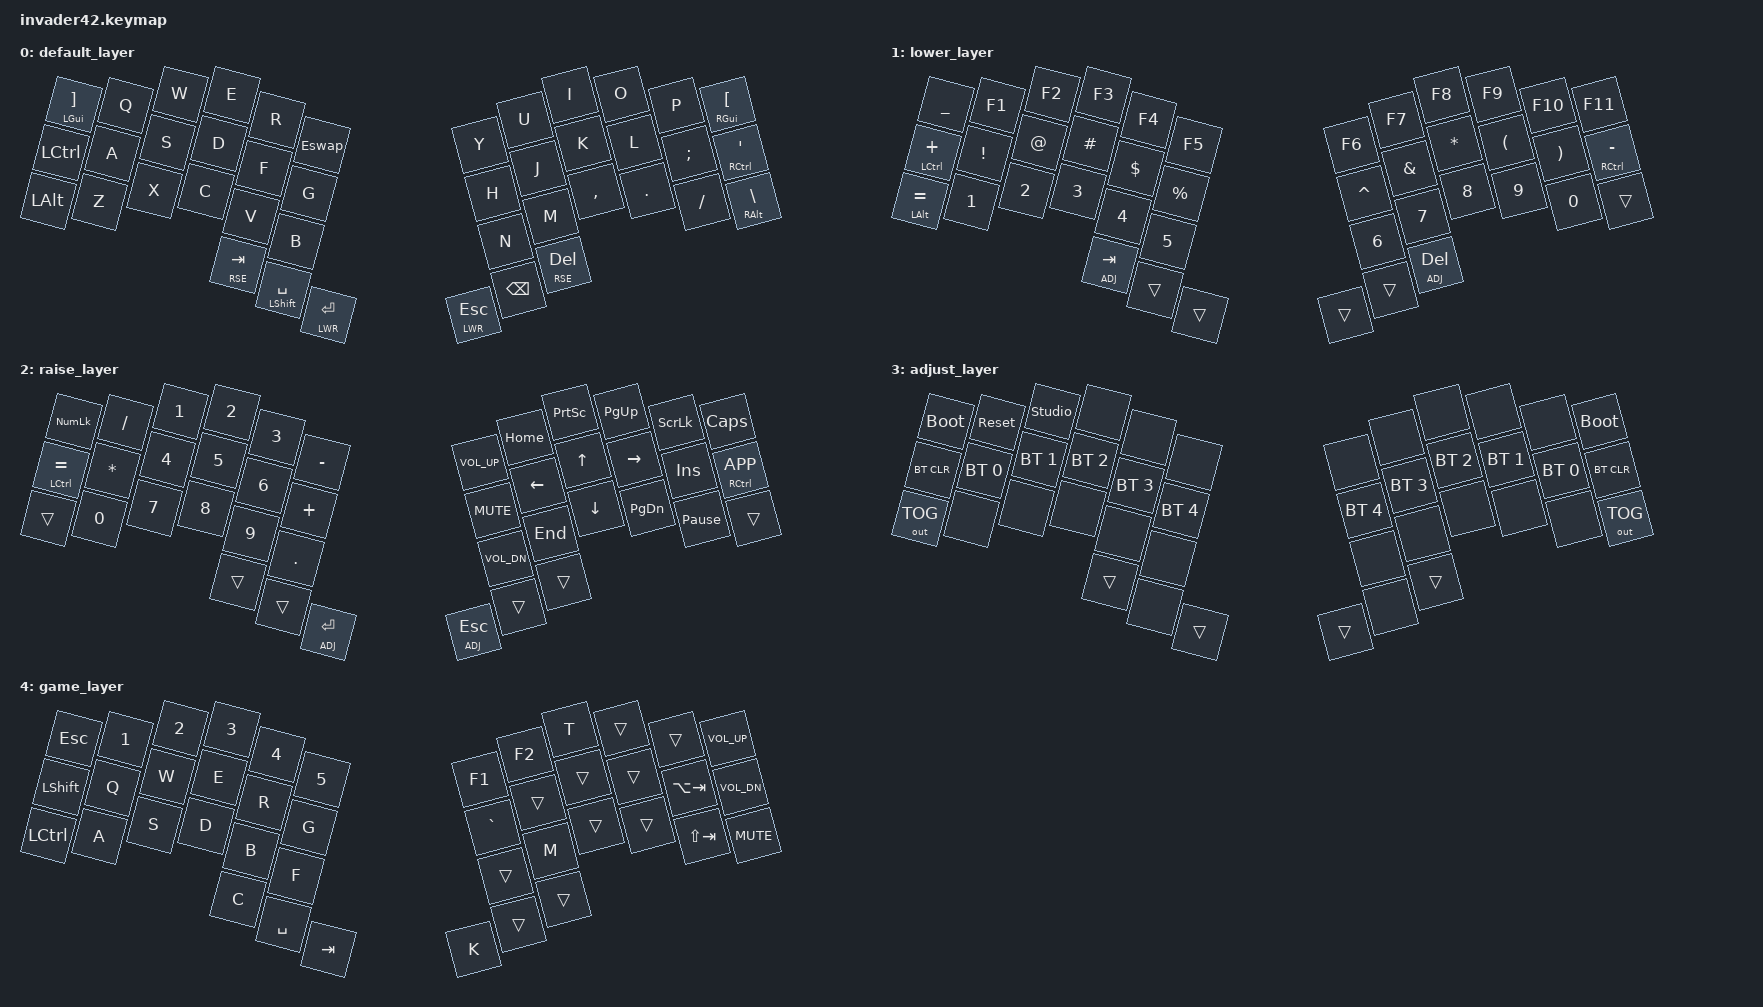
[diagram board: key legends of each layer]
/*
 * Copyright (c) 2020 The ZMK Contributors
 *
 * SPDX-License-Identifier: MIT
 */

#include <behaviors.dtsi>
#include <dt-bindings/zmk/bt.h>
#include <dt-bindings/zmk/keys.h>
#include <dt-bindings/zmk/outputs.h>
#include "keys_ru.h"

#define DEF 0
#define LWR 1
#define RSE 2
#define ADJ 3
#define GME 4

&lt { quick-tap-ms = <200>; };

&mt { quick-tap-ms = <200>; };

/ {
    combos {
        compatible = "zmk,combos";

        to_game_layer {
            bindings = <&to 4>;
            key-positions = <27 14>;
            layers = <0>;
        };

        to_default_layer {
            bindings = <&to 0>;
            key-positions = <15 3>;
            layers = <4>;
        };

        combo_delete {
            bindings = <&kp DEL>;
            key-positions = <37 38>;
            layers = <0>;
        };

        combo_backspace {
            bindings = <&kp BACKSPACE>;
            key-positions = <36 37>;
            layers = <0>;
        };

        combo_cs_mic {
            bindings = <&kp K>;
            key-positions = <37 38>;
            layers = <4>;
        };

        combo_copy {
            bindings = <&kp LC(C)>;
            key-positions = <2 3 4>;
            layers = <0>;
        };

        combo_paste {
            bindings = <&kp LC(V)>;
            key-positions = <2 4>;
            layers = <0>;
        };

        combo_cut {
            bindings = <&kp LC(X)>;
            key-positions = <2 3>;
            layers = <0>;
        };
    };

    behaviors {
        Eswap: Eswap {
            compatible = "zmk,behavior-tap-dance";
            label = "ESWAP";
            #binding-cells = <0>;
            bindings = <&kp T>, <&kp RU_CYRILLIC_IO>;

            tapping-term-ms = <180>;
        };
    };

    keymap {
        compatible = "zmk,keymap";

        default_layer {
            // -----------------------------------------------------------------------------------------
            //        |   ~  |  Q  |  W  |  E  |  R  |  T  |   |  Y  |  U   |  I  |  O  |  P  |  F11   | 
            //        | CTRL |  A  |  S  |  D  |  F  |  G  |   |  H  |  J   |  K  |  L  |  ;  |CTRL/'|
            //        | LALT |  Z  |  X  |  C  |  V  |  B  |   |  N  |  M   |  ,  |  .  |  /  | RALT |
            //                           | RSE | SPC | LWR |   | LWR | BKSP | RSE |

            bindings = <
&mt LEFT_GUI RIGHT_BRACKET  &kp Q  &kp W  &kp E  &kp R        &Eswap                                     &kp Y          &kp U        &kp I      &kp O    &kp P     &mt RIGHT_GUI LEFT_BRACKET
&kp LCTRL                   &kp A  &kp S  &kp D  &kp F        &kp G                                      &kp H          &kp J        &kp K      &kp L    &kp SEMI  &mt RCTRL SQT
&kp LALT                    &kp Z  &kp X  &kp C  &kp V        &kp B                                      &kp N          &kp M        &kp COMMA  &kp DOT  &kp FSLH  &mt RALT BSLH
                                                 &lt RSE TAB  &mt LSHFT SPACE  &lt LWR RET  &lt LWR ESC  &kp BACKSPACE  &lt RSE DEL
            >;
        };

        lower_layer {
            // -----------------------------------------------------------------------------------------
            // |     |  _  |  F1 |  F2 |  F3 |  F4 |  F5 |   |  F6 |  F7 |  F8 |  F9 | F10 | F11 | F12 |
            //       |  +  |  !  |  @  |  #  |  $  |  %  |   |  ^  |  &  |  *  |  (  |  )  |  -  |
            //       |  =  |  1  |  2  |  3  |  4  |  5  |   |  6  |  7  |  8  |  9  |  0  |     |
            //                    | GUI |     | SPC |   | ENT |     | ALT |

            bindings = <
&kp UNDER       &kp F1    &kp F2  &kp F3    &kp F4       &kp F5                     &kp F6     &kp F7       &kp F8    &kp F9    &kp F10   &kp F11
&mt LCTRL PLUS  &kp EXCL  &kp AT  &kp HASH  &kp DLLR     &kp PRCNT                  &kp CARET  &kp AMPS     &kp STAR  &kp LPAR  &kp RPAR  &mt RCTRL MINUS
&mt LALT EQUAL  &kp N1    &kp N2  &kp N3    &kp N4       &kp N5                     &kp N6     &kp N7       &kp N8    &kp N9    &kp N0    &trans
                                            &lt ADJ TAB  &trans     &trans  &trans  &trans     &lt ADJ DEL
            >;
        };

        raise_layer {
            // -----------------------------------------------------------------------------------------
            // |     | NMLK |  /  |  7  |  8  |  9  |  -  |   | VOLU| HOME| PRSC| PGUP| SCLK| CLCK|     |
            //       | CTRL |  *  |  4  |  5  |  6  |  +  |   | MUT | LEFT|  UP | RGHT| INS | APP |
            //       |      |  0  |  1  |  2  |  3  |  .  |   | VOLD| END | DOWN| PGDN| PAUS|     |
            //                          |     |     | ADJ |   | ADJ |     |     |

            bindings = <
&kp KP_NUM       &kp SLASH     &kp N1        &kp N2        &kp N3        &kp MINUS                             &kp C_VOL_UP  &kp HOME  &kp PSCRN  &kp PG_UP  &kp SLCK         &kp CAPS
&mt LCTRL EQUAL  &kp ASTERISK  &kp N4        &kp N5        &kp N6        &kp PLUS                              &kp C_MUTE    &kp LEFT  &kp UP     &kp RIGHT  &kp INS          &mt RCTRL K_APP
&trans           &kp NUMBER_0  &kp NUMBER_7  &kp NUMBER_8  &kp NUMBER_9  &kp PERIOD                            &kp C_VOL_DN  &kp END   &kp DOWN   &kp PG_DN  &kp PAUSE_BREAK  &trans
                                                           &trans        &trans      &lt ADJ RET  &lt ADJ ESC  &trans        &trans
            >;
        };

        adjust_layer {
            // -----------------------------------------------------------------------------------------
            // | RST | BLDR |     |     |     |     |     |   |     |     |     |     |     | BLDR | RST |
            //       | BTCLR| BT0 | BT1 | BT2 | BT3 | BT4 |   | BT4 | BT3 | BT2 | BT1 | BT0 | BTCLR|
            //       |      |     |     |     |     |     |   |     |     |     |     |     |      |
            //                          |     |     |     |   |     |     |     |

            bindings = <
&bootloader   &sys_reset    &studio_unlock  &none         &none         &none                         &none         &none         &none         &none         &none         &bootloader
&bt BT_CLR    &bt BT_SEL 0  &bt BT_SEL 1    &bt BT_SEL 2  &bt BT_SEL 3  &bt BT_SEL 4                  &bt BT_SEL 4  &bt BT_SEL 3  &bt BT_SEL 2  &bt BT_SEL 1  &bt BT_SEL 0  &bt BT_CLR
&out OUT_TOG  &none         &none           &none         &none         &none                         &none         &none         &none         &none         &none         &out OUT_TOG
                                                          &trans        &none         &trans  &trans  &none         &trans
            >;
        };

        game_layer {
            bindings = <
&kp ESCAPE      &kp N1  &kp N2  &kp N3  &kp N4  &kp NUMBER_5                  &kp F1     &kp F2  &kp T   &trans  &trans       &kp C_VOLUME_UP
&kp LEFT_SHIFT  &kp Q   &kp W   &kp E   &kp R   &kp G                         &kp GRAVE  &trans  &trans  &trans  &kp LA(TAB)  &kp C_VOL_DN
&kp LCTRL       &kp A   &kp S   &kp D   &kp B   &kp F                         &trans     &kp M   &trans  &trans  &kp LS(TAB)  &kp K_MUTE
                                        &kp C   &kp SPACE     &kp TAB  &kp K  &trans     &trans
            >;
        };
    };
};
